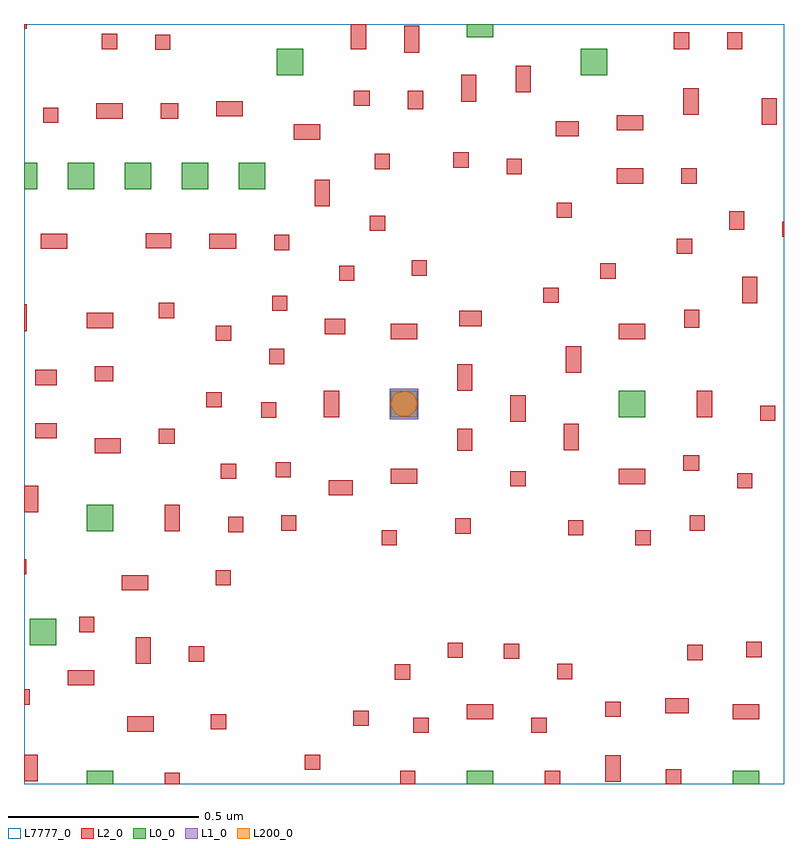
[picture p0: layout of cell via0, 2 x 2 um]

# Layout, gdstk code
import gdstk
lib = gdstk.Library(unit=1e-6, precision=1e-09)
def R(c, l, rs):  # rectangles x0, y0, x1, y1
    for r in rs: c.add(gdstk.rectangle(r[:2], r[2:], *l))
def A(c, l, x, y, w, h, nx, ny, dx, dy):  # array of equal rectangles
    R(c, l, [(x+i*dx, y+j*dy, x+i*dx+w, y+j*dy+h) for i in range(nx) for j in range(ny)])
def P(c, l, *ps):  # polygons
    for p in ps: c.add(gdstk.Polygon(p, *l))
L0_0 = (0, 0)
L1_0 = (1, 0)
L2_0 = (2, 0)
L200_0 = (200, 0)
L7777_0 = (7777, 0)

via0 = lib.new_cell('via0')
A(via0, L0_0, 55.565, 119.765, 0.07, 0.07, 4, 1, 0.15, 0)
R(via0, L0_0, [(55.615,118.2,55.685,118.235), (56.615,118.2,56.685,118.235), (57.315,118.2,57.385,118.235), (55.465,118.565,55.535,118.635), (55.615,118.865,55.685,118.935), (56.415,119.165,56.485,119.235), (57.015,119.165,57.085,119.235), (55.45,119.765,55.485,119.835), (56.115,120.065,56.185,120.135), (56.915,120.065,56.985,120.135), (56.615,120.165,56.685,120.2)])
R(via0, L1_0, [(56.412,119.16,56.488,119.24)])
R(via0, L2_0, [(55.82,118.2,55.86,118.23), (56.44,118.2,56.48,118.235), (56.821,118.2,56.861,118.235), (57.139,118.2,57.179,118.239), (56.98,118.206,57.02,118.276), (55.45,118.207,55.486,118.277), (56.189,118.237,56.229,118.277), (56.474,118.335,56.515,118.375), (56.785,118.335,56.826,118.375), (55.722,118.338,55.792,118.378), (55.942,118.344,55.982,118.384), (56.317,118.353,56.357,118.393), (56.615,118.37,56.685,118.41), (57.315,118.37,57.385,118.41), (56.98,118.377,57.02,118.417), (57.138,118.386,57.199,118.426), (55.45,118.409,55.465,118.449), (55.565,118.46,55.635,118.5), (56.426,118.475,56.466,118.515), (56.853,118.476,56.893,118.516), (55.744,118.516,55.784,118.586), (55.884,118.522,55.924,118.562), (57.196,118.526,57.236,118.566), (56.713,118.529,56.753,118.569), (56.565,118.532,56.605,118.572), (57.35,118.534,57.391,118.574), (55.595,118.6,55.635,118.64), (55.707,118.71,55.777,118.75), (55.954,118.723,55.994,118.763), (55.45,118.752,55.456,118.792), (56.391,118.828,56.431,118.868), (57.059,118.828,57.099,118.868), (56.882,118.854,56.922,118.894), (56.585,118.859,56.625,118.899), (55.987,118.863,56.027,118.903), (55.82,118.865,55.86,118.935), (56.127,118.867,56.167,118.907), (57.202,118.867,57.242,118.907), (55.45,118.915,55.487,118.985), (56.252,118.96,56.315,119), (57.327,118.978,57.367,119.018), (56.73,118.983,56.77,119.023), (57.015,118.989,57.085,119.029), (56.415,118.99,56.485,119.03), (55.968,119.003,56.008,119.043), (56.112,119.007,56.152,119.047), (57.185,119.025,57.227,119.065), (55.636,119.07,55.705,119.11), (56.59,119.077,56.63,119.135), (56.87,119.078,56.91,119.148), (55.805,119.095,55.847,119.135), (55.48,119.11,55.536,119.15), (56.73,119.153,56.77,119.223), (57.387,119.156,57.427,119.196), (56.074,119.164,56.114,119.205), (56.239,119.165,56.279,119.235), (57.221,119.165,57.261,119.235), (55.93,119.191,55.97,119.231), (56.59,119.235,56.63,119.305), (55.48,119.25,55.536,119.29), (55.636,119.26,55.685,119.3), (56.876,119.282,56.916,119.352), (56.095,119.305,56.135,119.345), (55.955,119.366,55.995,119.406), (56.415,119.371,56.485,119.411), (57.015,119.371,57.085,119.411), (56.241,119.384,56.296,119.424), (55.45,119.392,55.457,119.462), (55.615,119.4,55.685,119.44), (57.187,119.401,57.227,119.448), (56.595,119.405,56.654,119.445), (55.805,119.426,55.845,119.466), (56.103,119.445,56.143,119.485), (57.34,119.465,57.38,119.535), (56.817,119.466,56.857,119.506), (56.279,119.524,56.319,119.564), (56.967,119.53,57.007,119.57), (56.47,119.538,56.51,119.578), (57.168,119.595,57.208,119.635), (56.108,119.605,56.148,119.645), (55.494,119.608,55.564,119.648), (55.938,119.608,56.008,119.648), (55.771,119.61,55.838,119.65), (57.446,119.64,57.45,119.68), (56.36,119.656,56.4,119.696), (57.306,119.658,57.346,119.707), (56.852,119.69,56.892,119.73), (56.215,119.72,56.255,119.79), (57.01,119.78,57.08,119.82), (57.18,119.78,57.22,119.82), (56.72,119.805,56.76,119.845), (56.373,119.818,56.413,119.858), (56.58,119.822,56.62,119.862), (56.16,119.896,56.23,119.936), (56.849,119.904,56.91,119.944), (57.01,119.92,57.08,119.96), (57.391,119.935,57.431,120.005), (55.5,119.94,55.54,119.98), (55.64,119.951,55.71,119.991), (55.81,119.951,55.856,119.991), (55.956,119.957,56.026,119.997), (57.185,119.961,57.225,120.031), (56.46,119.976,56.5,120.025), (56.318,119.985,56.36,120.025), (56.6,119.996,56.64,120.066), (56.744,120.02,56.784,120.09), (56.45,120.125,56.49,120.195), (55.795,120.132,55.835,120.172), (55.655,120.134,55.695,120.174), (56.31,120.134,56.35,120.2), (57.16,120.134,57.2,120.178), (57.3,120.134,57.34,120.178), (55.45,120.187,55.457,120.2)])
P(via0, L200_0, [(56.444,119.166),(56.435,119.169),(56.428,119.174),(56.42,119.183),(56.417,119.191),(56.415,119.201),(56.421,119.22),(56.43,119.229),(56.435,119.231),(56.454,119.235),(56.47,119.229),(56.479,119.22),(56.484,119.21),(56.485,119.201),(56.481,119.184),(56.472,119.174),(56.463,119.168)])
R(via0, L7777_0, [(55.45,118.2,57.45,120.2)])

lib.write_gds('via0.gds')
